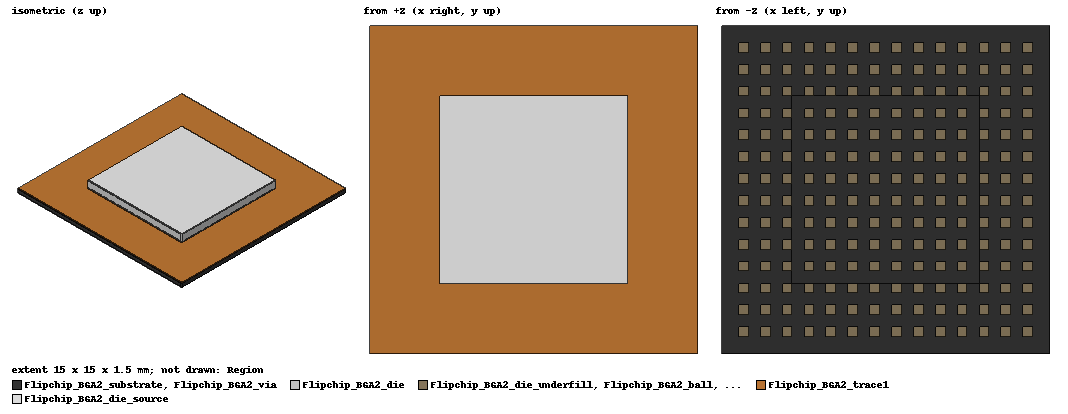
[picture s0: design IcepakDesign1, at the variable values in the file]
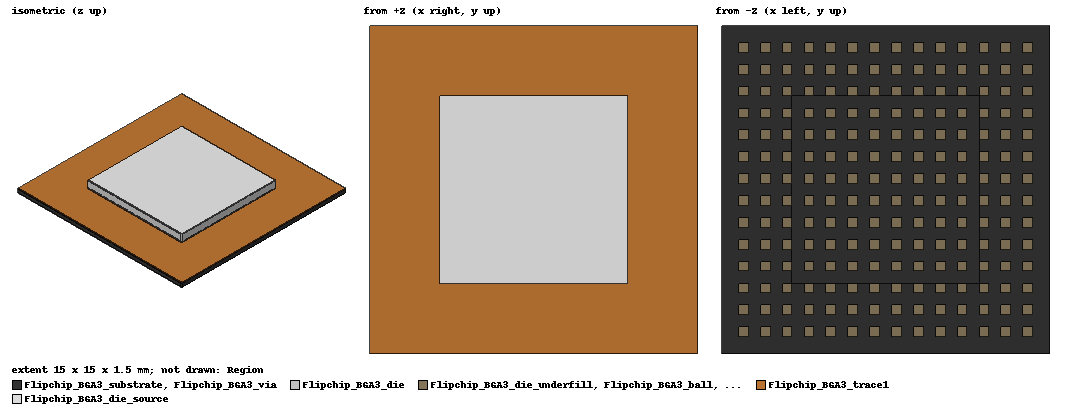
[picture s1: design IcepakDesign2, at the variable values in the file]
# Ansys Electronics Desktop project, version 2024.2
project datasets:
  $Cu_Pure_35: (-273.15, 0.49118388) (-196.15, 0.49118388) (99.85, 1) (726.85, 1)
  $Si_Typical_5: (-273.15, 0.23376623) (-196.15, 0.23376623) (99.85, 1) (726.85, 1)
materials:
  Al-Extruded: thermal_conductivity=205 mass_density=2800 specific_heat=900 youngs_modulus=69000000000 poissons_ratio=0.33 thermal_expansion_coefficient=2.277e-06 thermal_material_type=Solid
  air: permittivity=1.0006 permeability=1.0000004 thermal_conductivity=0.0261 mass_density=1.1614 specific_heat=1005 thermal_expansion_coefficient=0.00333 thermal_material_type=Fluid diffusivity=2.88e-05 molecular_mass=0.028966 viscosity=1.84e-05 material_refractive_index=1.000293
  Substrate_material: thermal_conductivity=0.35 mass_density=1900 specific_heat=795 thermal_material_type=Solid
  Cu-Pure: thermal_modifier{Property=specific_heat free_form_value=pwl($Cu_Pure_35,Temp)} thermal_conductivity=387.6 mass_density=8933 specific_heat=397 thermal_material_type=Solid
  Solder-pb50_sn50: thermal_conductivity=46 mass_density=8890 specific_heat=213 thermal_material_type=Solid
  Si-Typical: thermal_modifier{Property=specific_heat free_form_value=pwl($Si_Typical_5,Temp)} thermal_conductivity=180 mass_density=2330 specific_heat=770 thermal_material_type=Solid
  Flipchip_underfill: thermal_conductivity=0.8 mass_density=1210 specific_heat=1172 thermal_material_type=Solid
  Flipchip_BGA1_trace1_material: thermal_conductivity=213.3375 mass_density=5768.15 specific_heat=576.1
  Flipchip_BGA1_substrate_material: thermal_conductivity{anisotropic component1=0.35 component2=0.35 component3=0.35} mass_density=1900 specific_heat=795
  Flipchip_BGA1_via_material: thermal_conductivity{anisotropic component1=0.35 component2=0.35 component3=0.35} mass_density=1900 specific_heat=795
  Flipchip_BGA1_underfill_material: thermal_conductivity{anisotropic component1=0.8 component2=0.8 component3=0.80949592} mass_density=1211.6135 specific_heat=1171.7985
  Flipchip_BGA2_trace1_material: thermal_conductivity=213.3375 mass_density=5768.15 specific_heat=576.1
  Flipchip_BGA2_substrate_material: thermal_conductivity{anisotropic component1=0.35 component2=0.35 component3=0.35} mass_density=1900 specific_heat=795
  Flipchip_BGA2_via_material: thermal_conductivity{anisotropic component1=0.35 component2=0.35 component3=0.35} mass_density=1900 specific_heat=795
  Flipchip_BGA2_underfill_material: thermal_conductivity{anisotropic component1=0.8 component2=0.8 component3=0.80949592} mass_density=1211.6135 specific_heat=1171.7985
  Flipchip_BGA3_trace1_material: thermal_conductivity=213.3375 mass_density=5768.15 specific_heat=576.1
  Flipchip_BGA3_substrate_material: thermal_conductivity{anisotropic component1=0.35 component2=0.35 component3=0.35} mass_density=1900 specific_heat=795
  Flipchip_BGA3_via_material: thermal_conductivity{anisotropic component1=0.35 component2=0.35 component3=0.35} mass_density=1900 specific_heat=795
  Flipchip_BGA3_underfill_material: thermal_conductivity{anisotropic component1=0.8 component2=0.8 component3=0.80949592} mass_density=1211.6135 specific_heat=1171.7985
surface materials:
  Steel-oxidised-surface: surface_emissivity=0.8

design IcepakDesign1 (Icepak, SteadyState TemperatureAndFlow, model units mm)
options: Default_Fluid_Material=air Default_Solid_Material=Al-Extruded Default_Surface_Material=Steel-oxidised-surface AmbientTemperature=20cel AmbientPressure=0n_per_meter_sq AmbientRadiationTemperature=20cel Gravity_Vector_CS_ID=Global Gravity_Vector_Axis=Z Positive=false Altitude=0meter OperatingPressure=101325n_per_meter_sq OperatingDensity=1.225kg_per_m3
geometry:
  Region [air] = region(percentage_offset=50 on all sides)
  Flipchip_BGA2_die [Si-Typical] = box(corner=(0.0mm+ 0.5*15.0mm-0.5*8.56mm, 0.0mm+ 0.5*15.0mm-0.5*8.56mm, 0.0mm+0.5mm+0.36mm+0.01mm), size=(8.56mm, 8.56mm, 1.6mm-0.5mm-0.36mm-0.01mm-0.1mm))
  Flipchip_BGA2_die_source [Si-Typical] = rectangle(corner=(0.0mm+ 0.5*15.0mm-0.5*8.56mm, 0.0mm+ 0.5*15.0mm-0.5*8.56mm, 0.0mm+0.5mm+0.36mm+0.01mm+1.6mm-0.5mm-0.36mm-0.01mm-0.1mm), x_size=8.56mm, y_size=8.56mm)
  Flipchip_BGA2_die_underfill [Flipchip_BGA2_underfill_material] = box(corner=(0.0mm+ 0.5*15.0mm-0.5*8.56mm, 0.0mm+ 0.5*15.0mm-0.5*8.56mm, 0.0mm+0.5mm+0.36mm), size=(8.56mm, 8.56mm, 0.01mm))
  Flipchip_BGA2_substrate [Flipchip_BGA2_substrate_material] = box(corner=(0mm, 0mm, 0.0mm+0.5mm+0.36mm-0.36mm), size=(15mm, 15mm, 0.36mm))
  Flipchip_BGA2_via [Flipchip_BGA2_via_material] = box(corner=(0.0mm+ 0.5*15.0mm-0.5*8.56mm, 0.0mm+ 0.5*15.0mm-0.5*8.56mm, 0.0mm+0.5mm+0.36mm-1*0.36mm), size=(8.56mm, 8.56mm, 0.36mm))
  Flipchip_BGA2_trace1 [Flipchip_BGA2_trace1_material] = rectangle(corner=(0mm, 0mm, 0.0mm+0.5mm+0.36mm), x_size=15mm, y_size=15mm)
  Flipchip_BGA2_ball [Solder-pb50_sn50] = box(corner=(0.0mm+(0.5*(15.0mm-((1.0mm*14)-(1.0mm-0.443113462726mm)))), 0.0mm+(0.5*(15.0mm-((1.0mm*14)-(1.0mm-0.443113462726mm)))), 0mm), size=(0.44311346mm, 0.44311346mm, 0.5mm))
  Flipchip_BGA2_ball_1..Flipchip_BGA2_ball_13 [Solder-pb50_sn50] = Flipchip_BGA2_ball.duplicate_along_line(step=(1mm, 0mm, 0mm), total=14)
  Flipchip_BGA2_ball_14..Flipchip_BGA2_ball_26 [Solder-pb50_sn50] = Flipchip_BGA2_ball.duplicate_along_line(step=(0mm, 1mm, 0mm), total=14)
  Flipchip_BGA2_ball_1_1..Flipchip_BGA2_ball_1_13 [Solder-pb50_sn50] = Flipchip_BGA2_ball_1.duplicate_along_line(step=(0mm, 1mm, 0mm), total=14)
  Flipchip_BGA2_ball_2_1..Flipchip_BGA2_ball_2_13 [Solder-pb50_sn50] = Flipchip_BGA2_ball_2.duplicate_along_line(step=(0mm, 1mm, 0mm), total=14)
  Flipchip_BGA2_ball_3_1..Flipchip_BGA2_ball_3_13 [Solder-pb50_sn50] = Flipchip_BGA2_ball_3.duplicate_along_line(step=(0mm, 1mm, 0mm), total=14)
  Flipchip_BGA2_ball_4_1..Flipchip_BGA2_ball_4_13 [Solder-pb50_sn50] = Flipchip_BGA2_ball_4.duplicate_along_line(step=(0mm, 1mm, 0mm), total=14)
  Flipchip_BGA2_ball_5_1..Flipchip_BGA2_ball_5_13 [Solder-pb50_sn50] = Flipchip_BGA2_ball_5.duplicate_along_line(step=(0mm, 1mm, 0mm), total=14)
  Flipchip_BGA2_ball_6_1..Flipchip_BGA2_ball_6_13 [Solder-pb50_sn50] = Flipchip_BGA2_ball_6.duplicate_along_line(step=(0mm, 1mm, 0mm), total=14)
  Flipchip_BGA2_ball_7_1..Flipchip_BGA2_ball_7_13 [Solder-pb50_sn50] = Flipchip_BGA2_ball_7.duplicate_along_line(step=(0mm, 1mm, 0mm), total=14)
  Flipchip_BGA2_ball_8_1..Flipchip_BGA2_ball_8_13 [Solder-pb50_sn50] = Flipchip_BGA2_ball_8.duplicate_along_line(step=(0mm, 1mm, 0mm), total=14)
  Flipchip_BGA2_ball_9_1..Flipchip_BGA2_ball_9_13 [Solder-pb50_sn50] = Flipchip_BGA2_ball_9.duplicate_along_line(step=(0mm, 1mm, 0mm), total=14)
  Flipchip_BGA2_ball_10_1..Flipchip_BGA2_ball_10_13 [Solder-pb50_sn50] = Flipchip_BGA2_ball_10.duplicate_along_line(step=(0mm, 1mm, 0mm), total=14)
  Flipchip_BGA2_ball_11_1..Flipchip_BGA2_ball_11_13 [Solder-pb50_sn50] = Flipchip_BGA2_ball_11.duplicate_along_line(step=(0mm, 1mm, 0mm), total=14)
  Flipchip_BGA2_ball_12_1..Flipchip_BGA2_ball_12_13 [Solder-pb50_sn50] = Flipchip_BGA2_ball_12.duplicate_along_line(step=(0mm, 1mm, 0mm), total=14)
  Flipchip_BGA2_ball_13_1..Flipchip_BGA2_ball_13_13 [Solder-pb50_sn50] = Flipchip_BGA2_ball_13.duplicate_along_line(step=(0mm, 1mm, 0mm), total=14)
  group Flipchip_BGA2_Group = Flipchip_BGA2_die, Flipchip_BGA2_die_source, Flipchip_BGA2_die_underfill, Flipchip_BGA2_substrate, Flipchip_BGA2_via, Flipchip_BGA2_trace1
  group Flipchip_BGA2_ball_Group = Flipchip_BGA2_ball, Flipchip_BGA2_ball_1..Flipchip_BGA2_ball_26, Flipchip_BGA2_ball_1_1..Flipchip_BGA2_ball_1_13, Flipchip_BGA2_ball_2_1..Flipchip_BGA2_ball_2_13, Flipchip_BGA2_ball_3_1..Flipchip_BGA2_ball_3_13, Flipchip_BGA2_ball_4_1..Flipchip_BGA2_ball_4_13, Flipchip_BGA2_ball_5_1..Flipchip_BGA2_ball_5_13, Flipchip_BGA2_ball_6_1..Flipchip_BGA2_ball_6_13, Flipchip_BGA2_ball_7_1..Flipchip_BGA2_ball_7_13, Flipchip_BGA2_ball_8_1..Flipchip_BGA2_ball_8_13, Flipchip_BGA2_ball_9_1..Flipchip_BGA2_ball_9_13, Flipchip_BGA2_ball_10_1..Flipchip_BGA2_ball_10_13, Flipchip_BGA2_ball_11_1..Flipchip_BGA2_ball_11_13, Flipchip_BGA2_ball_12_1..Flipchip_BGA2_ball_12_13, Flipchip_BGA2_ball_13_1..Flipchip_BGA2_ball_13_13
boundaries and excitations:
  Flipchip_BGA2_die_source: Source Objects=Flipchip_BGA2_die_source Thermal_Condition="Total Power" Total_Power=1W
  Flipchip_BGA2_trace1: Conducting Plate Objects=Flipchip_BGA2_trace1 Thermal_Specification=Thickness Thickness=0.033mm Solid_Material=Flipchip_BGA2_trace1_material Total_Power=0W Shell_Conduction
  Source1: Source Objects=Flipchip_BGA2_substrate Thermal_Condition="Fixed Temperature" Temperature=AmbientTemp
  Source2: Source Objects=Flipchip_BGA2_substrate Thermal_Condition="Fixed Temperature" Temperature=AmbientTemp
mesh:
  Global:  MeshMethod=MesherHD ComputeGap MeshRegionResolution=3 MinGapX=1mm MinGapY=1mm MinGapZ=1mm Objects=Region FacetLevel=3 ProximitySizeFunction CurvatureSizeFunction OptimizePCBMesh

design IcepakDesign2 (Icepak, SteadyState TemperatureAndFlow, model units mm)
options: Default_Fluid_Material=air Default_Solid_Material=Al-Extruded Default_Surface_Material=Steel-oxidised-surface AmbientTemperature=20cel AmbientPressure=0n_per_meter_sq AmbientRadiationTemperature=20cel Gravity_Vector_CS_ID=Global Gravity_Vector_Axis=Z Positive=false Altitude=0meter OperatingPressure=101325n_per_meter_sq OperatingDensity=1.225kg_per_m3
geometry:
  Region [air] = region(percentage_offset=50 on all sides)
  Flipchip_BGA3_die [Si-Typical] = box(corner=(0.0mm+ 0.5*15.0mm-0.5*8.56mm, 0.0mm+ 0.5*15.0mm-0.5*8.56mm, 0.0mm+0.5mm+0.36mm+0.01mm), size=(8.56mm, 8.56mm, 1.6mm-0.5mm-0.36mm-0.01mm-0.1mm))
  Flipchip_BGA3_die_source [Si-Typical] = rectangle(corner=(0.0mm+ 0.5*15.0mm-0.5*8.56mm, 0.0mm+ 0.5*15.0mm-0.5*8.56mm, 0.0mm+0.5mm+0.36mm+0.01mm+1.6mm-0.5mm-0.36mm-0.01mm-0.1mm), x_size=8.56mm, y_size=8.56mm)
  Flipchip_BGA3_die_underfill [Flipchip_BGA3_underfill_material] = box(corner=(0.0mm+ 0.5*15.0mm-0.5*8.56mm, 0.0mm+ 0.5*15.0mm-0.5*8.56mm, 0.0mm+0.5mm+0.36mm), size=(8.56mm, 8.56mm, 0.01mm))
  Flipchip_BGA3_substrate [Flipchip_BGA3_substrate_material] = box(corner=(0mm, 0mm, 0.0mm+0.5mm+0.36mm-0.36mm), size=(15mm, 15mm, 0.36mm))
  Flipchip_BGA3_via [Flipchip_BGA3_via_material] = box(corner=(0.0mm+ 0.5*15.0mm-0.5*8.56mm, 0.0mm+ 0.5*15.0mm-0.5*8.56mm, 0.0mm+0.5mm+0.36mm-1*0.36mm), size=(8.56mm, 8.56mm, 0.36mm))
  Flipchip_BGA3_trace1 [Flipchip_BGA3_trace1_material] = rectangle(corner=(0mm, 0mm, 0.0mm+0.5mm+0.36mm), x_size=15mm, y_size=15mm)
  Flipchip_BGA3_ball [Solder-pb50_sn50] = box(corner=(0.0mm+(0.5*(15.0mm-((1.0mm*14)-(1.0mm-0.443113462726mm)))), 0.0mm+(0.5*(15.0mm-((1.0mm*14)-(1.0mm-0.443113462726mm)))), 0mm), size=(0.44311346mm, 0.44311346mm, 0.5mm))
  Flipchip_BGA3_ball_1..Flipchip_BGA3_ball_13 [Solder-pb50_sn50] = Flipchip_BGA3_ball.duplicate_along_line(step=(1mm, 0mm, 0mm), total=14)
  Flipchip_BGA3_ball_14..Flipchip_BGA3_ball_26 [Solder-pb50_sn50] = Flipchip_BGA3_ball.duplicate_along_line(step=(0mm, 1mm, 0mm), total=14)
  Flipchip_BGA3_ball_1_1..Flipchip_BGA3_ball_1_13 [Solder-pb50_sn50] = Flipchip_BGA3_ball_1.duplicate_along_line(step=(0mm, 1mm, 0mm), total=14)
  Flipchip_BGA3_ball_2_1..Flipchip_BGA3_ball_2_13 [Solder-pb50_sn50] = Flipchip_BGA3_ball_2.duplicate_along_line(step=(0mm, 1mm, 0mm), total=14)
  Flipchip_BGA3_ball_3_1..Flipchip_BGA3_ball_3_13 [Solder-pb50_sn50] = Flipchip_BGA3_ball_3.duplicate_along_line(step=(0mm, 1mm, 0mm), total=14)
  Flipchip_BGA3_ball_4_1..Flipchip_BGA3_ball_4_13 [Solder-pb50_sn50] = Flipchip_BGA3_ball_4.duplicate_along_line(step=(0mm, 1mm, 0mm), total=14)
  Flipchip_BGA3_ball_5_1..Flipchip_BGA3_ball_5_13 [Solder-pb50_sn50] = Flipchip_BGA3_ball_5.duplicate_along_line(step=(0mm, 1mm, 0mm), total=14)
  Flipchip_BGA3_ball_6_1..Flipchip_BGA3_ball_6_13 [Solder-pb50_sn50] = Flipchip_BGA3_ball_6.duplicate_along_line(step=(0mm, 1mm, 0mm), total=14)
  Flipchip_BGA3_ball_7_1..Flipchip_BGA3_ball_7_13 [Solder-pb50_sn50] = Flipchip_BGA3_ball_7.duplicate_along_line(step=(0mm, 1mm, 0mm), total=14)
  Flipchip_BGA3_ball_8_1..Flipchip_BGA3_ball_8_13 [Solder-pb50_sn50] = Flipchip_BGA3_ball_8.duplicate_along_line(step=(0mm, 1mm, 0mm), total=14)
  Flipchip_BGA3_ball_9_1..Flipchip_BGA3_ball_9_13 [Solder-pb50_sn50] = Flipchip_BGA3_ball_9.duplicate_along_line(step=(0mm, 1mm, 0mm), total=14)
  Flipchip_BGA3_ball_10_1..Flipchip_BGA3_ball_10_13 [Solder-pb50_sn50] = Flipchip_BGA3_ball_10.duplicate_along_line(step=(0mm, 1mm, 0mm), total=14)
  Flipchip_BGA3_ball_11_1..Flipchip_BGA3_ball_11_13 [Solder-pb50_sn50] = Flipchip_BGA3_ball_11.duplicate_along_line(step=(0mm, 1mm, 0mm), total=14)
  Flipchip_BGA3_ball_12_1..Flipchip_BGA3_ball_12_13 [Solder-pb50_sn50] = Flipchip_BGA3_ball_12.duplicate_along_line(step=(0mm, 1mm, 0mm), total=14)
  Flipchip_BGA3_ball_13_1..Flipchip_BGA3_ball_13_13 [Solder-pb50_sn50] = Flipchip_BGA3_ball_13.duplicate_along_line(step=(0mm, 1mm, 0mm), total=14)
  SubRegion1 [air, non-model] = sub_region(of=Flipchip_BGA3_die_underfill, percentage_offset=0 on all sides)
  SubRegion [air, non-model] = sub_region(of=Flipchip_BGA3_die_underfill, percentage_offset=0 on all sides)
  group Flipchip_BGA3_Group = Flipchip_BGA3_die, Flipchip_BGA3_die_source, Flipchip_BGA3_die_underfill, Flipchip_BGA3_substrate, Flipchip_BGA3_via, Flipchip_BGA3_trace1
  group Flipchip_BGA3_ball_Group = Flipchip_BGA3_ball, Flipchip_BGA3_ball_1..Flipchip_BGA3_ball_26, Flipchip_BGA3_ball_1_1..Flipchip_BGA3_ball_1_13, Flipchip_BGA3_ball_2_1..Flipchip_BGA3_ball_2_13, Flipchip_BGA3_ball_3_1..Flipchip_BGA3_ball_3_13, Flipchip_BGA3_ball_4_1..Flipchip_BGA3_ball_4_13, Flipchip_BGA3_ball_5_1..Flipchip_BGA3_ball_5_13, Flipchip_BGA3_ball_6_1..Flipchip_BGA3_ball_6_13, Flipchip_BGA3_ball_7_1..Flipchip_BGA3_ball_7_13, Flipchip_BGA3_ball_8_1..Flipchip_BGA3_ball_8_13, Flipchip_BGA3_ball_9_1..Flipchip_BGA3_ball_9_13, Flipchip_BGA3_ball_10_1..Flipchip_BGA3_ball_10_13, Flipchip_BGA3_ball_11_1..Flipchip_BGA3_ball_11_13, Flipchip_BGA3_ball_12_1..Flipchip_BGA3_ball_12_13, Flipchip_BGA3_ball_13_1..Flipchip_BGA3_ball_13_13
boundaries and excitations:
  Flipchip_BGA3_die_source: Source Objects=Flipchip_BGA3_die_source Thermal_Condition="Total Power" Total_Power=1W
  Source1: Source Objects=Flipchip_BGA3_substrate Thermal_Condition="Fixed Temperature" Temperature=AmbientTemp
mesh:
  Global:  MeshMethod=MesherHD ComputeGap MeshRegionResolution=3 MinGapX=1mm MinGapY=1mm MinGapZ=1mm Objects=Region FacetLevel=3 ProximitySizeFunction CurvatureSizeFunction OptimizePCBMesh
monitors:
  Flipchip_BGA3_substrate: Quantities(19) Objects=Flipchip_BGA3_substrate
  Flipchip_BGA3_die: Quantities(19) Objects=Flipchip_BGA3_die
  Flipchip_BGA3_die_underfill: Quantities(19) Objects=Flipchip_BGA3_die_underfill
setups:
  Setup1: IcepakSteadyState Flow_Regime=Laminar Include_Temperature=true Include_Flow=true Convergence_Criteria_-_Flow=0.001 Convergence_Criteria_-_Energy=1e-07 GPU_Convergence_Criteria_-_Flow=0.001 GPU_Convergence_Criteria_-_Energy=1e-05 disabled Radiation_Model=Off Under-relaxation_-_Pressure=0.3 Under-relaxation_-_Momentum=0.7 Under-relaxation_-_Temperature=1 Discretization_Scheme_-_Pressure=Standard Discretization_Scheme_-_Momentum=First Discretization_Scheme_-_Temperature=First Convergence_Criteria_-_Max_Iterations=100
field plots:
  Temperature1..Temperature4: Temperature on Setup1 : SteadyState
